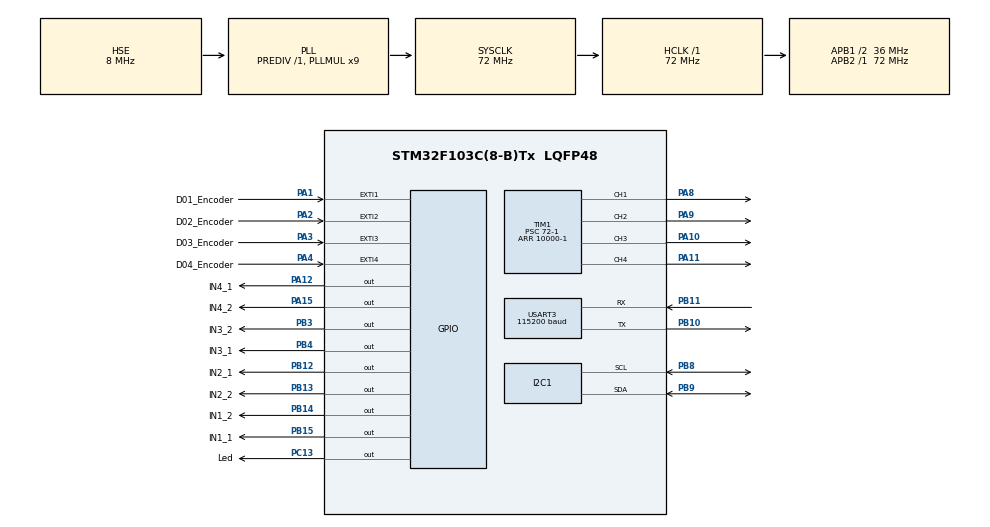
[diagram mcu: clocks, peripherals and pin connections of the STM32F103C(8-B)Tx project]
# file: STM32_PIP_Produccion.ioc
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FREERTOS.BinarySemaphores01=Semaforo1,Dynamic,NULL
FREERTOS.HEAP_NUMBER=4
FREERTOS.Tasks01=Speed1,40,512,StartSpeed1,Default,NULL,Dynamic,NULL,NULL;Modbus,40,128,StartModbus,Default,NULL,Dynamic,NULL,NULL;CheckVelocidad,33,128,StartCheckVelocidad,Default,NULL,Dynamic,NULL,NULL;TaskControl,48,128,StartTaskControl,Default,NULL,Dynamic,NULL,NULL;Corriente,40,1024,StartCorriente,Default,NULL,Dynamic,NULL,NULL;ping,24,128,startPing,Default,NULL,Dynamic,NULL,NULL
FREERTOS.configLIBRARY_LOWEST_INTERRUPT_PRIORITY=10
FREERTOS.configMINIMAL_STACK_SIZE=64
FREERTOS.configTOTAL_HEAP_SIZE=12000
FREERTOS.configUSE_NEWLIB_REENTRANT=1
IWDG.Prescaler=IWDG_PRESCALER_32
Mcu.Family=STM32F1
Mcu.Name=STM32F103C(8-B)Tx
Mcu.Package=LQFP48
NVIC.EXTI1_IRQn=true\:5\:0\:false\:false\:true\:false\:true\:true
NVIC.EXTI2_IRQn=true\:5\:0\:false\:false\:true\:false\:true\:true
NVIC.EXTI3_IRQn=true\:5\:0\:false\:false\:true\:false\:true\:true
NVIC.EXTI4_IRQn=true\:5\:0\:false\:false\:true\:true\:true\:true
NVIC.PriorityGroup=NVIC_PRIORITYGROUP_4
NVIC.TIM2_IRQn=true\:5\:0\:false\:false\:true\:true\:true\:true
NVIC.TIM4_IRQn=true\:15\:0\:false\:false\:true\:false\:false\:true
NVIC.TimeBase=TIM4_IRQn
NVIC.TimeBaseIP=TIM4
NVIC.USART3_IRQn=true\:5\:0\:false\:false\:true\:true\:true\:true
PA1.GPIO_Label=D01_Encoder
PA1.GPIO_PuPd=GPIO_PULLUP
PA1.Signal=GPXTI1
PA10.Signal=S_TIM1_CH3
PA11.Signal=S_TIM1_CH4
PA12.GPIO_Label=IN4_1
PA12.Signal=GPIO_Output
PA13.Mode=Serial_Wire
PA13.Signal=SYS_JTMS-SWDIO
PA14.Mode=Serial_Wire
PA14.Signal=SYS_JTCK-SWCLK
PA15.GPIO_Label=IN4_2
PA15.Signal=GPIO_Output
PA2.GPIO_Label=D02_Encoder
PA2.GPIO_PuPd=GPIO_PULLUP
PA2.Signal=GPXTI2
PA3.GPIO_Label=D03_Encoder
PA3.GPIO_PuPd=GPIO_PULLUP
PA3.Signal=GPXTI3
PA4.GPIO_Label=D04_Encoder
PA4.GPIO_PuPd=GPIO_PULLUP
PA4.Signal=GPXTI4
PA8.Signal=S_TIM1_CH1
PA9.Signal=S_TIM1_CH2
PB10.Mode=Asynchronous
PB10.Signal=USART3_TX
PB11.Mode=Asynchronous
PB11.Signal=USART3_RX
PB12.GPIO_Label=IN2_1
PB12.Signal=GPIO_Output
PB13.GPIO_Label=IN2_2
PB13.Signal=GPIO_Output
PB14.GPIO_Label=IN1_2
PB14.Signal=GPIO_Output
PB15.GPIO_Label=IN1_1
PB15.Signal=GPIO_Output
PB3.GPIO_Label=IN3_2
PB3.Signal=GPIO_Output
PB4.GPIO_Label=IN3_1
PB4.Signal=GPIO_Output
PB8.Mode=I2C
PB8.Signal=I2C1_SCL
PB9.Mode=I2C
PB9.Signal=I2C1_SDA
PC13-TAMPER-RTC.GPIO_Label=Led
PC13-TAMPER-RTC.Signal=GPIO_Output
PD0-OSC_IN.Mode=HSE-External-Oscillator
PD0-OSC_IN.Signal=RCC_OSC_IN
PD1-OSC_OUT.Mode=HSE-External-Oscillator
PD1-OSC_OUT.Signal=RCC_OSC_OUT
ProjectManager.HeapSize=0x200
ProjectManager.StackSize=0x400
ProjectManager.TargetToolchain=STM32CubeIDE
RCC.AHBFreq_Value=72000000
RCC.APB1CLKDivider=RCC_HCLK_DIV2
RCC.APB1Freq_Value=36000000
RCC.APB1TimFreq_Value=72000000
RCC.APB2Freq_Value=72000000
RCC.APB2TimFreq_Value=72000000
RCC.HCLKFreq_Value=72000000
RCC.PLLMUL=RCC_PLL_MUL9
RCC.PLLSourceVirtual=RCC_PLLSOURCE_HSE
RCC.SYSCLKFreq_VALUE=72000000
RCC.SYSCLKSource=RCC_SYSCLKSOURCE_PLLCLK
RCC.USBFreq_Value=72000000
SH.S_TIM1_CH1.0=TIM1_CH1,PWM Generation1 CH1
SH.S_TIM1_CH2.0=TIM1_CH2,PWM Generation2 CH2
SH.S_TIM1_CH3.0=TIM1_CH3,PWM Generation3 CH3
SH.S_TIM1_CH4.0=TIM1_CH4,PWM Generation4 CH4
TIM1.AutoReloadPreload=TIM_AUTORELOAD_PRELOAD_ENABLE
TIM1.Channel-PWM\ Generation1\ CH1=TIM_CHANNEL_1
TIM1.Channel-PWM\ Generation2\ CH2=TIM_CHANNEL_2
TIM1.Channel-PWM\ Generation3\ CH3=TIM_CHANNEL_3
TIM1.Channel-PWM\ Generation4\ CH4=TIM_CHANNEL_4
TIM1.Period=10000-1
TIM1.Prescaler=72-1
TIM2.AutoReloadPreload=TIM_AUTORELOAD_PRELOAD_ENABLE
TIM2.Period=20000-1
TIM2.Prescaler=1440-1
USART3.BaudRate=115200
USART3.VirtualMode=VM_ASYNC
VP_FREERTOS_VS_CMSIS_V2.Mode=CMSIS_V2
VP_IWDG_VS_IWDG.Mode=IWDG_Activate
VP_SYS_VS_tim4.Mode=TIM4
VP_TIM1_VS_ClockSourceINT.Mode=Internal
VP_TIM2_VS_ClockSourceINT.Mode=Internal
board=custom

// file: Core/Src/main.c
/* USER CODE BEGIN Header */
/**
 ******************************************************************************
 * @file           : main.c
 * @brief          : Main program body
 ******************************************************************************
 * @attention
 *
 * Copyright (c) 2022 STMicroelectronics.
 * All rights reserved.
 *
 * This software is licensed under terms that can be found in the LICENSE file
 * in the root directory of this software component.
 * If no LICENSE file comes with this software, it is provided AS-IS.
 *
 ******************************************************************************
 */
/* USER CODE END Header */
#include "main.h"
#include "cmsis_os.h"

/* USER CODE BEGIN Includes */
#include "string.h"
#include "stdio.h"
#include "stdlib.h"

#include "Modbus.h"
#include "ModbusConfig.h"

#include "Linealizacion.c"
#include "Linealizacion.h"

#include "control.c"
#include "control.h"

#include <math.h>

//#include "INA219.h"
/* USER CODE END Includes */

I2C_HandleTypeDef hi2c1;

IWDG_HandleTypeDef hiwdg;

TIM_HandleTypeDef htim1;
TIM_HandleTypeDef htim2;

UART_HandleTypeDef huart3;

/* Definitions for Speed1 */
osThreadId_t Speed1Handle;
const osThreadAttr_t Speed1_attributes = {
  .name = "Speed1",
  .stack_size = 512 * 4,
  .priority = (osPriority_t) osPriorityHigh,
};
/* Definitions for Modbus */
osThreadId_t ModbusHandle;
const osThreadAttr_t Modbus_attributes = {
  .name = "Modbus",
  .stack_size = 128 * 4,
  .priority = (osPriority_t) osPriorityHigh,
};
/* Definitions for CheckVelocidad */
osThreadId_t CheckVelocidadHandle;
const osThreadAttr_t CheckVelocidad_attributes = {
  .name = "CheckVelocidad",
  .stack_size = 128 * 4,
  .priority = (osPriority_t) osPriorityAboveNormal1,
};
/* Definitions for TaskControl */
osThreadId_t TaskControlHandle;
const osThreadAttr_t TaskControl_attributes = {
  .name = "TaskControl",
  .stack_size = 128 * 4,
  .priority = (osPriority_t) osPriorityRealtime,
};
/* Definitions for Corriente */
osThreadId_t CorrienteHandle;
const osThreadAttr_t Corriente_attributes = {
  .name = "Corriente",
  .stack_size = 1024 * 4,
  .priority = (osPriority_t) osPriorityHigh,
};
/* Definitions for ping */
osThreadId_t pingHandle;
const osThreadAttr_t ping_attributes = {
  .name = "ping",
  .stack_size = 128 * 4,
  .priority = (osPriority_t) osPriorityNormal,
};
/* Definitions for Semaforo1 */
osSemaphoreId_t Semaforo1Handle;
const osSemaphoreAttr_t Semaforo1_attributes = {
  .name = "Semaforo1"
};
/* USER CODE BEGIN PV */

//	Registers
//
#define	INA219_REG_CONFIG						(0x00)
#define	INA219_REG_SHUNTVOLTAGE					(0x01)
#define	INA219_REG_BUSVOLTAGE					(0x02)
#define	INA219_REG_POWER						(0x03)
#define	INA219_REG_CURRENT						(0x04)
#define	INA219_REG_CALIBRATION					(0x05)

#define INA219_CONFIG_BVOLTAGERANGE_32V			(0x2000) // 0-32V Range
#define	INA219_CONFIG_GAIN_8_320MV				(0x1800) // Gain 8, 320mV Range
#define	INA219_CONFIG_BADCRES_12BIT				(0x0180) // 12-bit bus res = 0..4097

#define	INA219_CONFIG_SADCRES_9BIT_1S_84US		(0x0000) // 1 x 9-bit shunt sample
#define	INA219_CONFIG_SADCRES_10BIT_1S_148US	(0x0008) // 1 x 10-bit shunt sample
#define	INA219_CONFIG_SADCRES_11BIT_1S_276US	(0x0010) // 1 x 11-bit shunt sample
#define	INA219_CONFIG_SADCRES_12BIT_1S_532US	(0x0018) // 1 x 12-bit shunt sample
#define	INA219_CONFIG_SADCRES_12BIT_2S_1060US	(0x0048) // 2 x 12-bit shunt samples averaged together
#define	INA219_CONFIG_SADCRES_12BIT_4S_2130US	(0x0050) // 4 x 12-bit shunt samples averaged together
#define	INA219_CONFIG_SADCRES_12BIT_8S_4260US	(0x0058) // 8 x 12-bit shunt samples averaged together
#define	INA219_CONFIG_SADCRES_12BIT_16S_8510US	(0x0060) // 16 x 12-bit shunt samples averaged together
#define	INA219_CONFIG_SADCRES_12BIT_32S_17MS	(0x0068) // 32 x 12-bit shunt samples averaged together
#define	INA219_CONFIG_SADCRES_12BIT_64S_34MS	(0x0070) // 64 x 12-bit shunt samples averaged together
#define	INA219_CONFIG_SADCRES_12BIT_128S_69MS	(0x0078) // 128 x 12-bit shunt samples averaged together

#define	INA219_CONFIG_MODE_SVOLT_CONTINUOUS		(0x05) /**< shunt voltage continuous */

//
//	Addresses
//
#define INA219_ADDRESS_1 (0x45) // A0 y A1 puenteados
#define INA219_ADDRESS_2 (0x41) // A0 puenteado
#define INA219_ADDRESS_3 (0x44) // A1 puenteado
//#define INA219_ADDRESS_4 (0x40) // Nada puenteado

//#define INA219_ADDRESS_5 (0x4C) // Corriente placa de control
#define INA219_ADDRESS_6 (0x42) // Corriente sobre R conocida para tension de bus

#define  N_motores       (0x04)
#define  N_corriente     (0x06)
#define  N_Modbus        (0x20) //32
#define  N_dato          (0x02)
#define  N_tasks		 (0x06)

#define  MODBUS_TASK 	 (0X00)
#define  ZERO_SPEED_TASK (0X01)
#define  CONTROL_TASK 	 (0X02)
#define  CURRENT_TASK 	 (0X03)

HAL_StatusTypeDef ret; // Con ret veo los estados retornados por HAL

//---------------->  Modbus
modbusHandler_t ModbusH;
uint16_t ModbusDATA[N_Modbus];  // Mapa modbus!

//---------------->
uint32_t ranuras = 50;
uint32_t cantTicksTmr2 = 20000;
uint64_t fsTmr2= 50000;
uint64_t tickFilter = 600; // Parametro delicado, puede hacer cagadas en la medicion de la velocidad, OJO

//Datos referidos a la velocidad
float velocidad[N_motores]; //Velocidad cruda
float velocidad_prima1[N_motores]; //Velocidad filtrada
float velocidad_prima2[N_motores];
uint8_t flags_motores[N_motores];// Bandera para saber con que motor estamos trabajando
uint8_t sentidoDeGiro[N_motores];
uint8_t bufferPing[N_tasks-2];

// Datos utilizados para el calculo de la velocidad
uint32_t ticksPrev[N_motores];
uint32_t ticksNow[N_motores];
uint32_t ticksAux[N_motores];
uint32_t deltaTicks[N_motores];

uint16_t overflow[N_motores]; // Cantidad de desbordes del timer

//float current = 0;
float current[N_corriente]; // Corriente de motores, bus y corriente de placa de control

/* USER CODE END PV */

void SystemClock_Config(void);
static void MX_GPIO_Init(void);
static void MX_TIM1_Init(void);
static void MX_TIM2_Init(void);
static void MX_USART3_UART_Init(void);
static void MX_I2C1_Init(void);
static void MX_IWDG_Init(void);
void StartSpeed1(void *argument);
void StartModbus(void *argument);
void StartCheckVelocidad(void *argument);
void StartTaskControl(void *argument);
void StartCorriente(void *argument);
void startPing(void *argument);

/* USER CODE BEGIN PFP */
/* Private function prototypes -----------------------------------------------*/
void SystemClock_Config(void);
static void MX_GPIO_Init(void);
static void MX_TIM1_Init(void);
static void MX_TIM2_Init(void);
static void MX_USART3_UART_Init(void);
static void MX_I2C1_Init(void);
void StartSpeed1(void *argument);
void StartModbus(void *argument);
void StartCheckVelocidad(void *argument);
void StartTaskControl(void *argument);
void StartCorriente(void *argument);

/* USER CODE END PFP */

/* USER CODE BEGIN 0 */

void Sentido(uint8_t valor,uint8_t motor){
	//Motor gira en un sentido
	if(motor == 1){
		if(valor == 0){
			HAL_GPIO_WritePin(IN1_1_GPIO_Port, IN1_1_Pin, SET);
			HAL_GPIO_WritePin(IN1_2_GPIO_Port, IN1_2_Pin, RESET);
		}
		//Motor gira en otro sentido
		else if(valor == 1){
			HAL_GPIO_WritePin(IN1_1_GPIO_Port, IN1_1_Pin, RESET);
			HAL_GPIO_WritePin(IN1_2_GPIO_Port, IN1_2_Pin, SET);
		}
		else{ // Break
			HAL_GPIO_WritePin(IN1_1_GPIO_Port, IN1_1_Pin, RESET);
			HAL_GPIO_WritePin(IN1_2_GPIO_Port, IN1_2_Pin, RESET);
		}
	}
	if(motor == 2){
		if(valor == 0){
			HAL_GPIO_WritePin(IN2_1_GPIO_Port, IN2_1_Pin, SET);
			HAL_GPIO_WritePin(IN2_2_GPIO_Port, IN2_2_Pin, RESET);
		}
		//Motor gira en otro sentido
		else if(valor == 1){
			HAL_GPIO_WritePin(IN2_1_GPIO_Port, IN2_1_Pin, RESET);
			HAL_GPIO_WritePin(IN2_2_GPIO_Port, IN2_2_Pin, SET);

		}
		else{ // Break
			HAL_GPIO_WritePin(IN2_1_GPIO_Port, IN2_1_Pin, RESET);
			HAL_GPIO_WritePin(IN2_2_GPIO_Port, IN2_2_Pin, RESET);
		}

	}
	if(motor == 3){
		if(valor == 0){
			HAL_GPIO_WritePin(IN3_1_GPIO_Port, IN3_1_Pin, SET);
			HAL_GPIO_WritePin(IN3_2_GPIO_Port, IN3_2_Pin, RESET);
		}
		//Motor gira en otro sentido
		else if(valor == 1){
			HAL_GPIO_WritePin(IN3_1_GPIO_Port, IN3_1_Pin, RESET);
			HAL_GPIO_WritePin(IN3_2_GPIO_Port, IN3_2_Pin, SET);

		}
		else{ // Break
			HAL_GPIO_WritePin(IN3_1_GPIO_Port, IN3_1_Pin, RESET);
			HAL_GPIO_WritePin(IN3_2_GPIO_Port, IN3_2_Pin, RESET);
		}
	}
	if(motor == 4){
		if(valor == 0){
			HAL_GPIO_WritePin(IN4_1_GPIO_Port, IN4_1_Pin, SET);
			HAL_GPIO_WritePin(IN4_2_GPIO_Port, IN4_2_Pin, RESET);
		}
		//Motor gira en otro sentido
		else if(valor == 1){
			HAL_GPIO_WritePin(IN4_1_GPIO_Port, IN4_1_Pin, RESET);
			HAL_GPIO_WritePin(IN4_2_GPIO_Port, IN4_2_Pin, SET);

		}
		else{ // Break
			HAL_GPIO_WritePin(IN4_1_GPIO_Port, IN4_1_Pin, RESET);
			HAL_GPIO_WritePin(IN4_2_GPIO_Port, IN4_2_Pin, RESET);
		}
	}
	sentidoDeGiro[motor-1]= valor;

}

void configIna219(uint8_t address, uint16_t TO){

	uint16_t config = INA219_CONFIG_BVOLTAGERANGE_32V |
			INA219_CONFIG_GAIN_8_320MV | INA219_CONFIG_BADCRES_12BIT |
			INA219_CONFIG_SADCRES_12BIT_128S_69MS |
			INA219_CONFIG_MODE_SVOLT_CONTINUOUS;

	uint16_t ina219_calibrationValue = 4096;

	//	INA219_setCalibration(ina219, ina219_calibrationValue);//(&hi2c1,ina219_calibrationValue)
	uint8_t addr[2];
	addr[0] = (ina219_calibrationValue >> 8) & 0xff;  // upper byte
	addr[1] = (ina219_calibrationValue >> 0) & 0xff; // lower byte
	HAL_I2C_Mem_Write(&hi2c1, (address<<1), INA219_REG_CALIBRATION, 1, (uint8_t*)addr, 2, TO);

	//	INA219_setConfig(ina219, config);
	addr[0] = (config >> 8) & 0xff;  // upper byte
	addr[1] = (config >> 0) & 0xff; // lower byte
	HAL_I2C_Mem_Write(&hi2c1, (address<<1), INA219_REG_CONFIG, 1, (uint8_t*)addr, 2, TO);
}

float getCurrent(uint8_t address, uint16_t TO){

	float current = 65.535;
	uint8_t Value[2];
	int16_t result = 0;
	int16_t ina219_currentDivider_mA = 10;
	//	int16_t result = INA219_ReadCurrent_raw(ina219); // read en INA219_REG_CURRENT
	HAL_StatusTypeDef ret;
	ret = HAL_I2C_Mem_Read(&hi2c1, (address<<1), INA219_REG_CURRENT, 1, Value, 2, TO);
	if(ret == HAL_OK){
		result = ((Value[0] << 8) | Value[1]); // RawCurrent
		current = ((float)result / (float)ina219_currentDivider_mA);
	}
	return current;
}

float readMotor(uint8_t address, uint16_t TO){
	HAL_StatusTypeDef ret1;
	float current;
	ret1 = HAL_I2C_IsDeviceReady(&hi2c1, address<<1, 1, TO);
	if(ret1 == HAL_OK){
		configIna219(address,TO);
		current = getCurrent(address,TO);
	}else{
		// Error control
		HAL_I2C_DeInit(&hi2c1);
		HAL_I2C_Init(&hi2c1);
		configIna219(address,TO);
		current = 65.535; // Estado que indica que la corriente no pudo ser leida
	}
	return current;
}

float deteccionCero(uint8_t n_motor, uint8_t sentido_, uint8_t cota, float velocidad, float referencia, uint8_t sentidoActual){
	if(sentido_ == 1 && sentido_!= sentidoActual){//velocidad > cota
		Sentido(1, n_motor);
		referencia = -referencia;
	}else if(sentido_ == 1 && sentido_== sentidoActual ){//corriente <= cota
		Sentido(1, n_motor);
		referencia = referencia;
	}
	else if(sentido_ == 0 && sentido_!= sentidoActual){//velocidad <= -cota
		Sentido(0, n_motor);
		referencia = -referencia;
	}else if(sentido_ == 0 && sentido_== sentidoActual){// corriente > -cota
		Sentido(0, n_motor);
		referencia= referencia;
	}
	return referencia;
}

void HAL_GPIO_EXTI_Callback (uint16_t GPIO_Pin){
	if (GPIO_Pin == D01_Encoder_Pin){
		ticksAux[0] = ticksPrev[0];
		ticksPrev[0] = ticksNow[0];
		ticksNow[0] = __HAL_TIM_GetCounter(&htim2);
		osSemaphoreRelease(Semaforo1Handle);
		flags_motores[0]=1;
	}

	if (GPIO_Pin == D02_Encoder_Pin){
		ticksAux[1] = ticksPrev[1];
		ticksPrev[1] = ticksNow[1];
		ticksNow[1] = __HAL_TIM_GetCounter(&htim2);
		osSemaphoreRelease(Semaforo1Handle);
		flags_motores[1]=1;
	}

	if (GPIO_Pin == D03_Encoder_Pin){
		ticksAux[2] = ticksPrev[2];
		ticksPrev[2] = ticksNow[2];
		ticksNow[2] = __HAL_TIM_GetCounter(&htim2);
		osSemaphoreRelease(Semaforo1Handle);
		flags_motores[2]=1;
	}

	if (GPIO_Pin == D04_Encoder_Pin){
		ticksAux[3] = ticksPrev[3];
		ticksPrev[3] = ticksNow[3];
		ticksNow[3] = __HAL_TIM_GetCounter(&htim2);
		osSemaphoreRelease(Semaforo1Handle);
		flags_motores[3]=1;
	}

}
/* USER CODE END 0 */

int main(void)
{

  /* MCU Configuration--------------------------------------------------------*/

  /* Reset of all peripherals, Initializes the Flash interface and the Systick. */
  HAL_Init();

  /* Configure the system clock */
  SystemClock_Config();

  /* Initialize all configured peripherals */
  MX_GPIO_Init();
  MX_TIM1_Init();
  MX_TIM2_Init();
  MX_USART3_UART_Init();
  MX_I2C1_Init();
  MX_IWDG_Init();
  /* USER CODE BEGIN 2 */
	HAL_TIM_Base_Start_IT(&htim2);
	Linealizacion_initialize();
	control_initialize();

	// Definiciones para la biblioteca de modbus
	ModbusH.uModbusType = MB_SLAVE;
	ModbusH.port =  &huart3;
	ModbusH.u8id = 1; //Modbus slave ID
	ModbusH.u16timeOut = 1000;
	ModbusH.EN_Port = NULL;
	ModbusH.u16regs = ModbusDATA;
	ModbusH.u16regsize= sizeof(ModbusDATA)/sizeof(ModbusDATA[0]);
	ModbusH.xTypeHW = USART_HW;

	//Initialize Modbus library
	ModbusInit(&ModbusH);
	//Start capturing traffic on serial Port
	ModbusStart(&ModbusH);

	HAL_TIM_PWM_Start(&htim1, TIM_CHANNEL_1);
	HAL_TIM_PWM_Start(&htim1, TIM_CHANNEL_2);
	HAL_TIM_PWM_Start(&htim1, TIM_CHANNEL_3);
	HAL_TIM_PWM_Start(&htim1, TIM_CHANNEL_4);

	HAL_GPIO_WritePin(IN1_1_GPIO_Port, IN1_1_Pin, GPIO_PIN_SET);
	HAL_GPIO_WritePin(IN2_1_GPIO_Port, IN2_1_Pin, GPIO_PIN_SET);
	HAL_GPIO_WritePin(IN3_1_GPIO_Port, IN3_1_Pin, GPIO_PIN_SET);
	HAL_GPIO_WritePin(IN4_1_GPIO_Port, IN4_1_Pin, GPIO_PIN_SET);
	//  	HAL_UART_Transmit(&huart3, (uint8_t*)"V\n", 3*sizeof(char), HAL_MAX_DELAY);
  /* USER CODE END 2 */

  /* Init scheduler */
  osKernelInitialize();

  /* Create the semaphores(s) */
  /* creation of Semaforo1 */
  Semaforo1Handle = osSemaphoreNew(1, 1, &Semaforo1_attributes);

  /* Create the thread(s) */
  /* creation of Speed1 */
  Speed1Handle = osThreadNew(StartSpeed1, NULL, &Speed1_attributes);

  /* creation of Modbus */
  ModbusHandle = osThreadNew(StartModbus, NULL, &Modbus_attributes);

  /* creation of CheckVelocidad */
  CheckVelocidadHandle = osThreadNew(StartCheckVelocidad, NULL, &CheckVelocidad_attributes);

  /* creation of TaskControl */
  TaskControlHandle = osThreadNew(StartTaskControl, NULL, &TaskControl_attributes);

  /* creation of Corriente */
  CorrienteHandle = osThreadNew(StartCorriente, NULL, &Corriente_attributes);

  /* creation of ping */
  pingHandle = osThreadNew(startPing, NULL, &ping_attributes);

  /* Start scheduler */
  osKernelStart();

  /* We should never get here as control is now taken by the scheduler */
  /* Infinite loop */
	while (1)
	{

	}
}

void SystemClock_Config(void)
{
  RCC_OscInitTypeDef RCC_OscInitStruct = {0};
  RCC_ClkInitTypeDef RCC_ClkInitStruct = {0};

  /** Initializes the RCC Oscillators according to the specified parameters
  * in the RCC_OscInitTypeDef structure.
  */
  RCC_OscInitStruct.OscillatorType = RCC_OSCILLATORTYPE_LSI|RCC_OSCILLATORTYPE_HSE;
  RCC_OscInitStruct.HSEState = RCC_HSE_ON;
  RCC_OscInitStruct.HSEPredivValue = RCC_HSE_PREDIV_DIV1;
  RCC_OscInitStruct.HSIState = RCC_HSI_ON;
  RCC_OscInitStruct.LSIState = RCC_LSI_ON;
  RCC_OscInitStruct.PLL.PLLState = RCC_PLL_ON;
  RCC_OscInitStruct.PLL.PLLSource = RCC_PLLSOURCE_HSE;
  RCC_OscInitStruct.PLL.PLLMUL = RCC_PLL_MUL9;
  if (HAL_RCC_OscConfig(&RCC_OscInitStruct) != HAL_OK)
  {
    Error_Handler();
  }
  /** Initializes the CPU, AHB and APB buses clocks
  */
  RCC_ClkInitStruct.ClockType = RCC_CLOCKTYPE_HCLK|RCC_CLOCKTYPE_SYSCLK
                              |RCC_CLOCKTYPE_PCLK1|RCC_CLOCKTYPE_PCLK2;
  RCC_ClkInitStruct.SYSCLKSource = RCC_SYSCLKSOURCE_PLLCLK;
  RCC_ClkInitStruct.AHBCLKDivider = RCC_SYSCLK_DIV1;
  RCC_ClkInitStruct.APB1CLKDivider = RCC_HCLK_DIV2;
  RCC_ClkInitStruct.APB2CLKDivider = RCC_HCLK_DIV1;

  if (HAL_RCC_ClockConfig(&RCC_ClkInitStruct, FLASH_LATENCY_2) != HAL_OK)
  {
    Error_Handler();
  }
}

static void MX_I2C1_Init(void)
{

  hi2c1.Instance = I2C1;
  hi2c1.Init.ClockSpeed = 100000;
  hi2c1.Init.DutyCycle = I2C_DUTYCYCLE_2;
  hi2c1.Init.OwnAddress1 = 0;
  hi2c1.Init.AddressingMode = I2C_ADDRESSINGMODE_7BIT;
  hi2c1.Init.DualAddressMode = I2C_DUALADDRESS_DISABLE;
  hi2c1.Init.OwnAddress2 = 0;
  hi2c1.Init.GeneralCallMode = I2C_GENERALCALL_DISABLE;
  hi2c1.Init.NoStretchMode = I2C_NOSTRETCH_DISABLE;
  if (HAL_I2C_Init(&hi2c1) != HAL_OK)
  {
    Error_Handler();
  }

}

static void MX_IWDG_Init(void)
{

  hiwdg.Instance = IWDG;
  hiwdg.Init.Prescaler = IWDG_PRESCALER_32;
  hiwdg.Init.Reload = 4095;
  if (HAL_IWDG_Init(&hiwdg) != HAL_OK)
  {
    Error_Handler();
  }

}

static void MX_TIM1_Init(void)
{

  TIM_ClockConfigTypeDef sClockSourceConfig = {0};
  TIM_MasterConfigTypeDef sMasterConfig = {0};
  TIM_OC_InitTypeDef sConfigOC = {0};
  TIM_BreakDeadTimeConfigTypeDef sBreakDeadTimeConfig = {0};

  htim1.Instance = TIM1;
  htim1.Init.Prescaler = 72-1;
  htim1.Init.CounterMode = TIM_COUNTERMODE_UP;
  htim1.Init.Period = 10000-1;
  htim1.Init.ClockDivision = TIM_CLOCKDIVISION_DIV1;
  htim1.Init.RepetitionCounter = 0;
  htim1.Init.AutoReloadPreload = TIM_AUTORELOAD_PRELOAD_ENABLE;
  if (HAL_TIM_Base_Init(&htim1) != HAL_OK)
  {
    Error_Handler();
  }
  sClockSourceConfig.ClockSource = TIM_CLOCKSOURCE_INTERNAL;
  if (HAL_TIM_ConfigClockSource(&htim1, &sClockSourceConfig) != HAL_OK)
  {
    Error_Handler();
  }
  if (HAL_TIM_PWM_Init(&htim1) != HAL_OK)
  {
    Error_Handler();
  }
  sMasterConfig.MasterOutputTrigger = TIM_TRGO_RESET;
  sMasterConfig.MasterSlaveMode = TIM_MASTERSLAVEMODE_DISABLE;
  if (HAL_TIMEx_MasterConfigSynchronization(&htim1, &sMasterConfig) != HAL_OK)
  {
    Error_Handler();
  }
  sConfigOC.OCMode = TIM_OCMODE_PWM1;
  sConfigOC.Pulse = 0;
  sConfigOC.OCPolarity = TIM_OCPOLARITY_HIGH;
  sConfigOC.OCNPolarity = TIM_OCNPOLARITY_HIGH;
  sConfigOC.OCFastMode = TIM_OCFAST_DISABLE;
  sConfigOC.OCIdleState = TIM_OCIDLESTATE_RESET;
  sConfigOC.OCNIdleState = TIM_OCNIDLESTATE_RESET;
  if (HAL_TIM_PWM_ConfigChannel(&htim1, &sConfigOC, TIM_CHANNEL_1) != HAL_OK)
  {
    Error_Handler();
  }
  if (HAL_TIM_PWM_ConfigChannel(&htim1, &sConfigOC, TIM_CHANNEL_2) != HAL_OK)
  {
    Error_Handler();
  }
  if (HAL_TIM_PWM_ConfigChannel(&htim1, &sConfigOC, TIM_CHANNEL_3) != HAL_OK)
  {
    Error_Handler();
  }
  if (HAL_TIM_PWM_ConfigChannel(&htim1, &sConfigOC, TIM_CHANNEL_4) != HAL_OK)
  {
    Error_Handler();
  }
  sBreakDeadTimeConfig.OffStateRunMode = TIM_OSSR_DISABLE;
  sBreakDeadTimeConfig.OffStateIDLEMode = TIM_OSSI_DISABLE;
  sBreakDeadTimeConfig.LockLevel = TIM_LOCKLEVEL_OFF;
  sBreakDeadTimeConfig.DeadTime = 0;
  sBreakDeadTimeConfig.BreakState = TIM_BREAK_DISABLE;
  sBreakDeadTimeConfig.BreakPolarity = TIM_BREAKPOLARITY_HIGH;
  sBreakDeadTimeConfig.AutomaticOutput = TIM_AUTOMATICOUTPUT_DISABLE;
  if (HAL_TIMEx_ConfigBreakDeadTime(&htim1, &sBreakDeadTimeConfig) != HAL_OK)
  {
    Error_Handler();
  }
  HAL_TIM_MspPostInit(&htim1);

}

static void MX_TIM2_Init(void)
{

  TIM_ClockConfigTypeDef sClockSourceConfig = {0};
  TIM_MasterConfigTypeDef sMasterConfig = {0};

  htim2.Instance = TIM2;
  htim2.Init.Prescaler = 1440-1;
  htim2.Init.CounterMode = TIM_COUNTERMODE_UP;
  htim2.Init.Period = 20000-1;
  htim2.Init.ClockDivision = TIM_CLOCKDIVISION_DIV1;
  htim2.Init.AutoReloadPreload = TIM_AUTORELOAD_PRELOAD_ENABLE;
  if (HAL_TIM_Base_Init(&htim2) != HAL_OK)
  {
    Error_Handler();
  }
  sClockSourceConfig.ClockSource = TIM_CLOCKSOURCE_INTERNAL;
  if (HAL_TIM_ConfigClockSource(&htim2, &sClockSourceConfig) != HAL_OK)
  {
    Error_Handler();
  }
  sMasterConfig.MasterOutputTrigger = TIM_TRGO_RESET;
  sMasterConfig.MasterSlaveMode = TIM_MASTERSLAVEMODE_DISABLE;
  if (HAL_TIMEx_MasterConfigSynchronization(&htim2, &sMasterConfig) != HAL_OK)
  {
    Error_Handler();
  }

}

static void MX_USART3_UART_Init(void)
{

  huart3.Instance = USART3;
  huart3.Init.BaudRate = 115200;
  huart3.Init.WordLength = UART_WORDLENGTH_8B;
  huart3.Init.StopBits = UART_STOPBITS_1;
  huart3.Init.Parity = UART_PARITY_NONE;
  huart3.Init.Mode = UART_MODE_TX_RX;
  huart3.Init.HwFlowCtl = UART_HWCONTROL_NONE;
  huart3.Init.OverSampling = UART_OVERSAMPLING_16;
  if (HAL_UART_Init(&huart3) != HAL_OK)
  {
    Error_Handler();
  }

}

static void MX_GPIO_Init(void)
{
  GPIO_InitTypeDef GPIO_InitStruct = {0};

  /* GPIO Ports Clock Enable */
  __HAL_RCC_GPIOC_CLK_ENABLE();
  __HAL_RCC_GPIOD_CLK_ENABLE();
  __HAL_RCC_GPIOA_CLK_ENABLE();
  __HAL_RCC_GPIOB_CLK_ENABLE();

  /*Configure GPIO pin Output Level */
  HAL_GPIO_WritePin(Led_GPIO_Port, Led_Pin, GPIO_PIN_RESET);

  /*Configure GPIO pin Output Level */
  HAL_GPIO_WritePin(GPIOB, IN2_1_Pin|IN2_2_Pin|IN1_2_Pin|IN1_1_Pin
                          |IN3_2_Pin|IN3_1_Pin, GPIO_PIN_RESET);

  /*Configure GPIO pin Output Level */
  HAL_GPIO_WritePin(GPIOA, IN4_1_Pin|IN4_2_Pin, GPIO_PIN_RESET);

  /*Configure GPIO pin : Led_Pin */
  GPIO_InitStruct.Pin = Led_Pin;
  GPIO_InitStruct.Mode = GPIO_MODE_OUTPUT_PP;
  GPIO_InitStruct.Pull = GPIO_NOPULL;
  GPIO_InitStruct.Speed = GPIO_SPEED_FREQ_LOW;
  HAL_GPIO_Init(Led_GPIO_Port, &GPIO_InitStruct);

  /*Configure GPIO pins : D01_Encoder_Pin D02_Encoder_Pin D03_Encoder_Pin D04_Encoder_Pin */
  GPIO_InitStruct.Pin = D01_Encoder_Pin|D02_Encoder_Pin|D03_Encoder_Pin|D04_Encoder_Pin;
  GPIO_InitStruct.Mode = GPIO_MODE_IT_RISING;
  GPIO_InitStruct.Pull = GPIO_PULLUP;
  HAL_GPIO_Init(GPIOA, &GPIO_InitStruct);

  /*Configure GPIO pins : IN2_1_Pin IN2_2_Pin IN1_2_Pin IN1_1_Pin
                           IN3_2_Pin IN3_1_Pin */
  GPIO_InitStruct.Pin = IN2_1_Pin|IN2_2_Pin|IN1_2_Pin|IN1_1_Pin
                          |IN3_2_Pin|IN3_1_Pin;
  GPIO_InitStruct.Mode = GPIO_MODE_OUTPUT_PP;
  GPIO_InitStruct.Pull = GPIO_NOPULL;
  GPIO_InitStruct.Speed = GPIO_SPEED_FREQ_LOW;
  HAL_GPIO_Init(GPIOB, &GPIO_InitStruct);

  /*Configure GPIO pins : IN4_1_Pin IN4_2_Pin */
  GPIO_InitStruct.Pin = IN4_1_Pin|IN4_2_Pin;
  GPIO_InitStruct.Mode = GPIO_MODE_OUTPUT_PP;
  GPIO_InitStruct.Pull = GPIO_NOPULL;
  GPIO_InitStruct.Speed = GPIO_SPEED_FREQ_LOW;
  HAL_GPIO_Init(GPIOA, &GPIO_InitStruct);

  /* EXTI interrupt init*/
  HAL_NVIC_SetPriority(EXTI1_IRQn, 5, 0);
  HAL_NVIC_EnableIRQ(EXTI1_IRQn);

  HAL_NVIC_SetPriority(EXTI2_IRQn, 5, 0);
  HAL_NVIC_EnableIRQ(EXTI2_IRQn);

  HAL_NVIC_SetPriority(EXTI3_IRQn, 5, 0);
  HAL_NVIC_EnableIRQ(EXTI3_IRQn);

  HAL_NVIC_SetPriority(EXTI4_IRQn, 5, 0);
  HAL_NVIC_EnableIRQ(EXTI4_IRQn);

}

void StartSpeed1(void *argument)
{
  /* USER CODE BEGIN 5 */

	uint32_t ticksPrev_l = 0;
	uint32_t ticksNow_l = 0;
	uint32_t ticksAux_l = 0;
	uint32_t deltaTicks_l = 0;
	uint16_t overflow_l =0;
	float velocidad_prima2_l = 0;
	float velocidad_prima1_l = 0;
	float velocidad_l = 0;
	uint8_t flags_motores_l[4];
	uint8_t valor = 0;

	for(int i=0; i<N_motores; i++){
		sentidoDeGiro[i] = 0;
	}
	/* Infinite loop */
	for(;;)
	{
		osSemaphoreAcquire(Semaforo1Handle, osWaitForever);
		taskENTER_CRITICAL();
		flags_motores_l[0] = flags_motores[0];
		flags_motores_l[1] = flags_motores[1];
		flags_motores_l[2] = flags_motores[2];
		flags_motores_l[3] = flags_motores[3];
		taskEXIT_CRITICAL();

		if (flags_motores_l[0] == 1)
		{
			valor = 0;
		}
		else if (flags_motores_l[1] == 1)
		{
			HAL_GPIO_TogglePin(Led_GPIO_Port, Led_Pin);
			valor = 1;
		}
		else if (flags_motores_l[2] == 1)
		{
			valor = 2;
		}
		else if (flags_motores_l[3] == 1)
		{
			valor = 3;
		}

		taskENTER_CRITICAL();
		ticksPrev_l = ticksPrev[valor];
		ticksNow_l = ticksNow[valor];
		ticksAux_l = ticksAux[valor];
		overflow_l = overflow[valor];
		velocidad_l = velocidad[valor];
		velocidad_prima1_l = velocidad_prima1[valor];
		velocidad_prima2_l = velocidad_prima2[valor];
		taskEXIT_CRITICAL();

		//		HAL_NVIC_EnableIRQ(EXTI1_IRQn);

		if (overflow_l == 0){
			// Tod o cool, calculo normal
			deltaTicks_l = ticksNow_l - ticksPrev_l;
			if (deltaTicks_l > tickFilter){

				//				if(sentidoDeGiro[valor] == 1) deltaTicks_l=-de7ltaTicks_l;

				velocidad_l = ((1/(float)ranuras)/((float)deltaTicks_l/(float)fsTmr2));
				//Filtro IIR
				velocidad_prima2_l = velocidad_prima1_l;
				velocidad_prima1_l = 0.95*velocidad_prima2_l + 0.05*velocidad_l;

				taskENTER_CRITICAL();
				deltaTicks[valor] = deltaTicks_l;
				velocidad[valor] = velocidad_l;
				velocidad_prima1[valor]= velocidad_prima1_l;
				velocidad_prima2[valor] = velocidad_prima2_l;
				taskEXIT_CRITICAL();
			}
			else{
				taskENTER_CRITICAL();
				ticksNow[valor] = ticksPrev_l;
				ticksPrev[valor] = ticksAux_l;
				taskEXIT_CRITICAL();
			}
		} else{
			// Tuve algun desborde y tengo que tenerlo en cuenta
			deltaTicks_l = (ticksNow_l + overflow_l * cantTicksTmr2)- ticksPrev_l;
			if (deltaTicks_l > tickFilter){
				//				if(sentidoDeGiro[valor] == 1) deltaTicks_l=-deltaTicks_l;

				velocidad_l = ((1/(float)ranuras)/((float)deltaTicks_l/(float)fsTmr2));
				//Filtro IIR
				velocidad_prima2_l = velocidad_prima1_l;
				velocidad_prima1_l = 0.95*velocidad_prima2_l + 0.05*velocidad_l;

				taskENTER_CRITICAL();
				overflow[valor] = 0;
				deltaTicks[valor] = deltaTicks_l;
				velocidad[valor] = velocidad_l;
				velocidad_prima1[valor] = velocidad_prima1_l;
				velocidad_prima2[valor] = velocidad_prima2_l;
				taskEXIT_CRITICAL();
			}
			else{
				taskENTER_CRITICAL();
				ticksNow[valor] = ticksPrev_l;
				ticksPrev[valor] = ticksAux_l;
				taskEXIT_CRITICAL();
			}
		}

		//		for(int i=0 ; i < N_motores ; i++){
		taskENTER_CRITICAL();
		flags_motores_l[valor] = 0;
		flags_motores[valor] = 0;
		taskEXIT_CRITICAL();
		//		}
		osDelay(1);
	}
  /* USER CODE END 5 */
}

void StartModbus(void *argument)
{
  /* USER CODE BEGIN StartModbus */
	uint16_t delta1[2];// para mandar los deltaticks
	uint16_t delta2[2];
	uint16_t delta3[2];
	uint16_t delta4[2];
	uint16_t delta5[2];
	//	uint16_t delta3[2];
	//	uint16_t delta4[2];

	float velocidad[4]={'\0'};
	uint16_t ModbusDATA_l[N_Modbus] = {'\0'};
	/* Infinite loop */
	for(;;)
	{
		bufferPing[MODBUS_TASK] = 1; //pin para watchdog
		taskENTER_CRITICAL();
		velocidad[0] = velocidad_prima1[0];
		velocidad[1] = velocidad_prima1[1];
		velocidad[2] = velocidad_prima1[2];
		velocidad[3] = velocidad_prima1[3];
		taskEXIT_CRITICAL();

		//Actualizo visualizacion de velocidad
		// Si existe un multiSet:
		if(ModbusDATA[29] == 1){
			velocidad[0] = velocidad[0];
			velocidad[1] = -velocidad[1];
			velocidad[2] = velocidad[2];
			velocidad[3] = -velocidad[3];
		} else if(ModbusDATA[29] == 2){
			velocidad[0] = -velocidad[0];
			velocidad[1] = velocidad[1];
			velocidad[2] = -velocidad[2];
			velocidad[3] = velocidad[3];
		}else{// Si no hay multiSet
			if(ModbusDATA[1] != 0) velocidad[0] = -velocidad[0];
			if(ModbusDATA[7] != 0) velocidad[1] = -velocidad[1];
			if(ModbusDATA[13] != 0) velocidad[2] = -velocidad[2];
			if(ModbusDATA[19] != 0) velocidad[3] = -velocidad[3];
		}

		memcpy(delta1, &velocidad[0], sizeof(velocidad[0]));
		ModbusDATA_l[2]=delta1[0];
		ModbusDATA_l[3]=delta1[1];

		memcpy(delta2, &velocidad[1], sizeof(velocidad[1]));
		ModbusDATA_l[8]=delta2[0];
		ModbusDATA_l[9]=delta2[1];

		memcpy(delta3, &velocidad[2], sizeof(velocidad[2]));
		ModbusDATA_l[14]=delta3[0];
		ModbusDATA_l[15]=delta3[1];

		memcpy(delta4, &velocidad[3], sizeof(velocidad[3]));
		ModbusDATA_l[20]=delta4[0];
		ModbusDATA_l[21]=delta4[1];

		//Corriente

		memcpy(delta5, &current[0], sizeof(current[0])); // Motor 1
		ModbusDATA_l[4]=delta5[0];
		ModbusDATA_l[5]=delta5[1];

		memcpy(delta5, &current[1], sizeof(current[1])); // Motor 2
		ModbusDATA_l[10]=delta5[0];
		ModbusDATA_l[11]=delta5[1];

		memcpy(delta5, &current[2], sizeof(current[2])); // Motor 3
		ModbusDATA_l[16]=delta5[0];
		ModbusDATA_l[17]=delta5[1];

		memcpy(delta5, &current[3], sizeof(current[3])); // Motor 4
		ModbusDATA_l[22]=delta5[0];
		ModbusDATA_l[23]=delta5[1];

		memcpy(delta5, &current[4], sizeof(current[4])); // Placa Control
		ModbusDATA_l[24]=delta5[0];
		ModbusDATA_l[25]=delta5[1];

		memcpy(delta5, &current[5], sizeof(current[5])); // Vbus
		ModbusDATA_l[26]=delta5[0];
		ModbusDATA_l[27]=delta5[1];

		//		ModbusDATA_l[28] // Armado del sistema

		taskENTER_CRITICAL();

		ModbusDATA[2] = ModbusDATA_l[2];
		ModbusDATA[3] = ModbusDATA_l[3];
		ModbusDATA[4] = ModbusDATA_l[4];
		ModbusDATA[5] = ModbusDATA_l[5];

		ModbusDATA[8] = ModbusDATA_l[8];
		ModbusDATA[9] = ModbusDATA_l[9];
		ModbusDATA[10] = ModbusDATA_l[10];
		ModbusDATA[11] = ModbusDATA_l[11];

		ModbusDATA[14] = ModbusDATA_l[14];
		ModbusDATA[15] = ModbusDATA_l[15];
		ModbusDATA[16] = ModbusDATA_l[16];
		ModbusDATA[17] = ModbusDATA_l[17];

		ModbusDATA[20] = ModbusDATA_l[20];
		ModbusDATA[21] = ModbusDATA_l[21];
		ModbusDATA[22] = ModbusDATA_l[22];
		ModbusDATA[23] = ModbusDATA_l[23];

		ModbusDATA[24] = ModbusDATA_l[24];
		ModbusDATA[25] = ModbusDATA_l[25];
		ModbusDATA[26] = ModbusDATA_l[26];
		ModbusDATA[27] = ModbusDATA_l[27];

		taskEXIT_CRITICAL();

		osDelay(50);
	}
  /* USER CODE END StartModbus */
}

void StartCheckVelocidad(void *argument)
{
  /* USER CODE BEGIN StartCheckVelocidad */

	uint16_t overflow_l[4] ={'\0'};
	uint8_t desbordes = 2;

	/* Infinite loop */
	for(;;)
	{
		bufferPing[ZERO_SPEED_TASK] = 1; //pin para watchdog
		taskENTER_CRITICAL();
		overflow_l[0] = overflow[0];
		overflow_l[1] = overflow[1];
		overflow_l[2] = overflow[2];
		overflow_l[3] = overflow[3];
		taskEXIT_CRITICAL();

		if(overflow_l[0] >= desbordes){
			overflow_l[0] = 0;
			taskENTER_CRITICAL();
			overflow[0] = 0;
			velocidad_prima2[0] = 0;
			velocidad_prima1[0] = 0;
			velocidad[0] = 0;
			taskEXIT_CRITICAL();
		}
		if(overflow_l[1] >= desbordes){
			overflow_l[1] = 0;
			taskENTER_CRITICAL();
			overflow[1] = 0;
			velocidad_prima2[1] = 0;
			velocidad_prima1[1] = 0;
			velocidad[1] = 0;
			taskEXIT_CRITICAL();
		}
		if(overflow_l[2] >= desbordes){
			overflow_l[2] = 0;
			taskENTER_CRITICAL();
			overflow[2] = 0;
			velocidad_prima2[2] = 0;
			velocidad_prima1[2] = 0;
			velocidad[2] = 0;
			taskEXIT_CRITICAL();
		}
		if(overflow_l[3] >= desbordes){
			overflow_l[3] = 0;
			taskENTER_CRITICAL();
			overflow[3] = 0;
			velocidad_prima2[3] = 0;
			velocidad_prima1[3] = 0;
			velocidad[3] = 0;
			taskEXIT_CRITICAL();
		}
		osDelay(5);
	}
  /* USER CODE END StartCheckVelocidad */
}

void StartTaskControl(void *argument)
{
  /* USER CODE BEGIN StartTaskControl */
	float velocidad_l[4]={'\0'};
	float Setpoint[4] = {'\0'};
	uint16_t Sentido_l[4]={'\0'};
	uint8_t parada=0;
	uint8_t cota = 50;
	uint16_t multiSet;
	float multiSetpoint;
	float tension=0;

	//	float error=0;

	/* Infinite loop */
	for(;;)
	{
		bufferPing[CONTROL_TASK] = 1; //pin para watchdog

		taskENTER_CRITICAL();
		//		velocidad_l[0] = velocidad[0]; //MOTOR1
		//		velocidad_l[1] = velocidad[1]; //MOTOR2
		//		velocidad_l[2] = velocidad[2]; //MOTOR3
		//		velocidad_l[3] = velocidad[3]; //MOTOR4

		velocidad_l[0] = velocidad_prima1[0]; //MOTOR1
		velocidad_l[1] = velocidad_prima1[1]; //MOTOR2
		velocidad_l[2] = velocidad_prima1[2]; //MOTOR3
		velocidad_l[3] = velocidad_prima1[3]; //MOTOR4

		Setpoint[0] = (float)ModbusDATA[0]/1000.0; //SETPOINT MOTOR1
		Setpoint[1] = (float)ModbusDATA[6]/1000.0; //SETPOINT MOTOR2
		Setpoint[2] = (float)ModbusDATA[12]/1000.0; //SETPOINT MOTOR3
		Setpoint[3] = (float)ModbusDATA[18]/1000.0; //SETPOINT MOTOR4

		Sentido_l[0] = ModbusDATA[1]; //SENTIDO MOTOR 1
		Sentido_l[1] = ModbusDATA[7]; //SENTIDO MOTOR 2
		Sentido_l[2] = ModbusDATA[13]; //SENTIDO MOTOR 3
		Sentido_l[3] = ModbusDATA[19]; //SENTIDO MOTOR 4

		/////////////// FUNCION PARA PARADA GENERAL /////////////////////////////////
		parada = ModbusDATA[28];

		multiSet = ModbusDATA[29];
		multiSetpoint = ModbusDATA[30]/1000.0;

		tension = current[5];

		taskEXIT_CRITICAL();

		//		if(parada == 0){
		//			for(int i=0;i<N_motores;i++){
		//				Setpoint[i]=0;
		//			}
		//		}

		/////////////////////////////////////////////////////////////////////////////

		// Funcion Reservada para testing
		if(multiSet == 1){
			for(int i=0; i<4 ; i++){ // Pongo el mismo Setpoint para todos los motores
				Setpoint[i] = multiSetpoint;
			}
			Sentido_l[0]=0;
			Sentido_l[1]=1;
			Sentido_l[2]=0;
			Sentido_l[3]=1;

		} else if(multiSet == 2){
			for(int i=0; i<4 ; i++){ // Pongo el mismo Setpoint para todos los motores
				Setpoint[i] = multiSetpoint;
			}
			Sentido_l[0]=1;
			Sentido_l[1]=0;
			Sentido_l[2]=1;
			Sentido_l[3]=0;
		}else{

		}

		// Chequeo datos no validos en setpoint, max 1.2
		for(int i=0;i<4;i++){
			if(Setpoint[i]>1.2) {
				Setpoint[i] = 1.2;
				taskENTER_CRITICAL();
				ModbusDATA[6*i] = 1200;
				taskEXIT_CRITICAL();
			}
		}

		Setpoint[0] = deteccionCero(1, Sentido_l[0], cota, current[0], Setpoint[0], sentidoDeGiro[0]);
		Setpoint[1] = deteccionCero(2, Sentido_l[1], cota, current[1], Setpoint[1], sentidoDeGiro[1]);
		Setpoint[2] = deteccionCero(4, Sentido_l[2], cota, current[2], Setpoint[2], sentidoDeGiro[3]);// Referencia cruzada de motores y CCR
		Setpoint[3] = deteccionCero(3, Sentido_l[3], cota, current[3], Setpoint[3], sentidoDeGiro[2]);// Referencia cruzada de motores y CCR

		if(parada == 1 && tension >= 22.0){

			rtEntrada_Control1 = Setpoint[0] - velocidad_l[0];
			rtEntrada_Control2 = Setpoint[1] - velocidad_l[1];
			rtEntrada_Control3 = Setpoint[2] - velocidad_l[2];
			rtEntrada_Control4 = Setpoint[3] - velocidad_l[3];

			control_step(); //Ejecutamos control

			rtEntrada_Linealizacion1 = rtSalida_Control1;	//Salida PID asignada a entrada de planta linealizadora
			rtEntrada_Linealizacion2 = rtSalida_Control2;
			rtEntrada_Linealizacion3 = rtSalida_Control3;
			rtEntrada_Linealizacion4 = rtSalida_Control4;

			Linealizacion_step();	//Ejecutamos planta linealizadora

			htim1.Instance->CCR1 = (uint32_t)rtSalida_Linealizacion1;	//Salida linealizada asignada a CCR
			htim1.Instance->CCR2 = (uint32_t)rtSalida_Linealizacion2;
			htim1.Instance->CCR4 = (uint32_t)rtSalida_Linealizacion3;// Referencia cruzada de motores y CCR
			htim1.Instance->CCR3 = (uint32_t)rtSalida_Linealizacion4;// Referencia cruzada de motores y CCR

		} else	{

			HAL_GPIO_WritePin(IN1_1_GPIO_Port, IN1_1_Pin, SET);// Dejo estado flotando
			HAL_GPIO_WritePin(IN1_2_GPIO_Port, IN1_2_Pin, SET);// Dejo estado flotando

			HAL_GPIO_WritePin(IN2_1_GPIO_Port, IN2_1_Pin, SET);// Dejo estado flotando
			HAL_GPIO_WritePin(IN2_2_GPIO_Port, IN2_2_Pin, SET);// Dejo estado flotando

			HAL_GPIO_WritePin(IN3_1_GPIO_Port, IN3_1_Pin, SET);// Dejo estado flotando
			HAL_GPIO_WritePin(IN3_2_GPIO_Port, IN3_2_Pin, SET);// Dejo estado flotando

			HAL_GPIO_WritePin(IN4_1_GPIO_Port, IN4_1_Pin, SET);// Dejo estado flotando
			HAL_GPIO_WritePin(IN4_2_GPIO_Port, IN4_2_Pin, SET);// Dejo estado flotando

			// Cero los valores de CCR ahora qeu esta flotando, para evitar frenar de golpe
			// Se frenará solo por la fricción
			htim1.Instance->CCR1 = 0;//Salida linealizada asignada a CCR
			htim1.Instance->CCR2 = 0;
			htim1.Instance->CCR4 = 0;// Referencia cruzada de motores y CCR
			htim1.Instance->CCR3 = 0;// Referencia cruzada de motores y CCR

			rtEntrada_Control1 = 0;             /* '<Root>/Entrada_Control1' */
			rtEntrada_Control2 = 0;             /* '<Root>/Entrada_Control2' */
			rtEntrada_Control3 = 0;             /* '<Root>/Entrada_Control3' */
			rtEntrada_Control4 = 0;             /* '<Root>/Entrada_Control4' */
			rtIntegrator_DSTATE = 0;            /* '<S38>/Integrator' */
			rtIntegrator_DSTATE_g = 0;          /* '<S88>/Integrator' */
			rtIntegrator_DSTATE_gr = 0;         /* '<S138>/Integrator' */
			rtIntegrator_DSTATE_grm = 0;        /* '<S188>/Integrator' */
			rtUD_DSTATE = 0;                    /* '<S31>/UD' */
			rtUD_DSTATE_m = 0;                  /* '<S81>/UD' */
			rtUD_DSTATE_mr = 0;                 /* '<S131>/UD' */
			rtUD_DSTATE_mrz = 0;

		}

		osDelay(5);
	}

  /* USER CODE END StartTaskControl */
}

void StartCorriente(void *argument)
{
  /* USER CODE BEGIN StartCorriente */
	/* Infinite loop */
	float current_l[6] = {0.0, 0.0, 0.0, 0.0, 0.0, 0.0};
	float current_prima1_l[6] = {0.0, 0.0, 0.0, 0.0, 0.0, 0.0};
	float current_prima2_l[6] = {0.0, 0.0, 0.0, 0.0, 0.0, 0.0};
	uint16_t timeOut = 2;
	//	configIna219(INA219_ADDRESS_1,timeOut); // Config segun el address
	//	configIna219(INA219_ADDRESS_2,timeOut); // Config segun el address
	//	configIna219(INA219_ADDRESS_3,timeOut); // Config segun el address
	//	configIna219(INA219_ADDRESS_4,timeOut); // Config segun el address

	for(;;)
	{
		bufferPing[CURRENT_TASK] = 1; //pin para watchdog

		//				current_l[0] = readMotor(INA219_ADDRESS_1,timeOut)*2.0;
		//				if(current_l[0] != 65.535){	// 65535 Es un estado que significa que el I2c estaba ocupado o no pudo leer la corriente
		//					// por lo que dejo el valor anterior
		//					current_prima2_l[0] = current_prima1_l[0];
		//					current_prima1_l[0] = 0.85*current_prima2_l[0] + 0.15*current_l[0];
		//					taskENTER_CRITICAL();
		//					//			current[0] = current_l[0];
		//					current[0] = current_prima1_l[0];
		//					taskEXIT_CRITICAL();
		//				}
		//
		//				current_l[1] = readMotor(INA219_ADDRESS_2,timeOut)*2.0;
		//				if(current_l[1] != 65.535){	// 65535 Es un estado que significa que el I2c estaba ocupado o no pudo leer la corriente
		//					// por lo que dejo el valor anterior
		//					current_prima2_l[1] = current_prima1_l[1];
		//					current_prima1_l[1] = 0.85*current_prima2_l[1] + 0.15*current_l[1];
		//					taskENTER_CRITICAL();
		//					//			current[1] = current_l[1];
		//					current[1] = current_prima1_l[1];
		//					taskEXIT_CRITICAL();
		//				}
		//
		//				current_l[2] = readMotor(INA219_ADDRESS_3,timeOut)*2.0;
		//				if(current_l[2] != 65.535){	// 65535 Es un estado que significa que el I2c estaba ocupado o no pudo leer la corriente
		//					// por lo que dejo el valor anterior
		//					current_prima2_l[2] = current_prima1_l[2];
		//					current_prima1_l[2] = 0.85*current_prima2_l[2] + 0.15*current_l[2];
		//					taskENTER_CRITICAL();
		//		//			current[2] = current_l[2];
		//					current[2] = current_prima1_l[2];
		//					taskEXIT_CRITICAL();
		//				}

		//		current_l[3] = readMotor(INA219_ADDRESS_4,timeOut)*2.0;
		//		if(current_l[3] != 65.535){	// 65535 Es un estado que significa que el I2c estaba ocupado o no pudo leer la corriente
		//			// por lo que dejo el valor anterior
		//			current_prima2_l[3] = current_prima1_l[3];
		//			current_prima1_l[3] = 0.85*current_prima2_l[3] + 0.15*current_l[3];
		//			taskENTER_CRITICAL();
		////			current[3] = current_l[3];
		//			current[3] = current_prima1_l[3];
		//			taskEXIT_CRITICAL();
		//		}
		//
		//		current_l[4] = readMotor(INA219_ADDRESS_5,timeOut);
		//		if(current_l[4] != 65.535){	// 65535 Es un estado que significa que el I2c estaba ocupado o no pudo leer la corriente
		//			// por lo que dejo el valor anterior
		//			taskENTER_CRITICAL();
		//			current[4] = current_l[4];
		//			taskEXIT_CRITICAL();
		//		}

		//		OJO OJETE HACER LA CONVERSION DE LA TENSION DEL BUS EN EL QUE CORRESPONDA

		current_l[5] = readMotor(INA219_ADDRESS_6,timeOut);
		if(current_l[5] != 65.535){	// 65535 Es un estado que significa que el I2c estaba ocupado o no pudo leer la corriente
			// por lo que dejo el valor anterior
			taskENTER_CRITICAL();
			current[5] = current_l[5]*3.3;
			taskEXIT_CRITICAL();
		}

		osDelay(10);
	}
  /* USER CODE END StartCorriente */
}

void startPing(void *argument)
{
  /* USER CODE BEGIN startPing */
	uint8_t var = 0;
	/* Infinite loop */
	for(;;)
	{
//		HAL_GPIO_TogglePin(Led_GPIO_Port, Led_Pin);

		for(int i=0;i<N_tasks-2;i++){
			if(bufferPing[i] != 1){
				var = 1;// iNDICA ERROR
			}
			bufferPing[i]=0;
		}
		if (var == 0){
			HAL_IWDG_Refresh(&hiwdg);
			__HAL_IWDG_RELOAD_COUNTER(&hiwdg);
		}
		var = 0;

		osDelay(248);
	}
  /* USER CODE END startPing */
}

void HAL_TIM_PeriodElapsedCallback(TIM_HandleTypeDef *htim)
{
  if (htim->Instance == TIM4) {
    HAL_IncTick();
  }
  /* USER CODE BEGIN Callback 1 */
	if(htim->Instance == TIM2){
		overflow[0] += 1;
		overflow[1] += 1;
		overflow[2] += 1;
		overflow[3] += 1;

	}
  /* USER CODE END Callback 1 */
}

void Error_Handler(void)
{
	__disable_irq();
	while (1)
	{
	}
}
